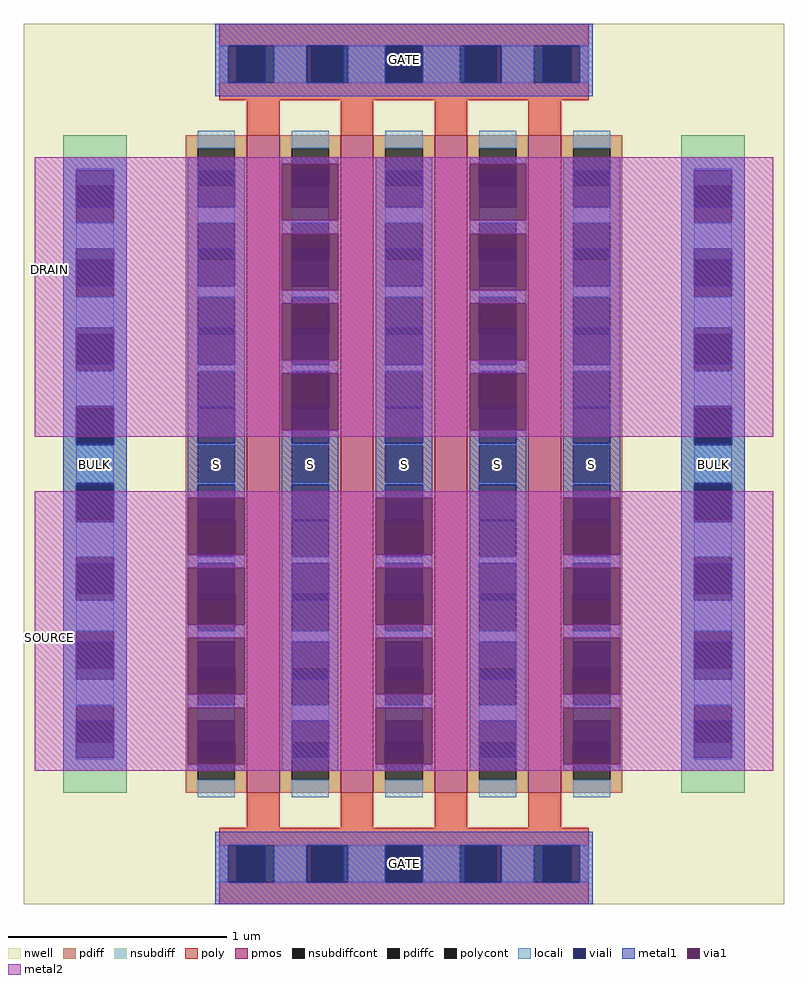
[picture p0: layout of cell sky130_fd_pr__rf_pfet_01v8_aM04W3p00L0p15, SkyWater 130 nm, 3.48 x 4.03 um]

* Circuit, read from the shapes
.subckt sky130_fd_pr__rf_pfet_01v8_aM04W3p00L0p15 BULK DRAIN GATE SOURCE
XM1 DRAIN GATE SOURCE BULK sky130_fd_pr__pfet_01v8 w=3.01 l=0.15 m=4
.ends

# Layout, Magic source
magic
tech sky130A
magscale 1 2
<< nwell >>
rect 0 0 696 806
<< pmos >>
rect 204 102 234 704
rect 290 102 320 704
rect 376 102 406 704
rect 462 102 492 704
<< pdiff >>
rect 148 692 204 704
rect 148 658 159 692
rect 193 658 204 692
rect 148 624 204 658
rect 148 590 159 624
rect 193 590 204 624
rect 148 556 204 590
rect 148 522 159 556
rect 193 522 204 556
rect 148 488 204 522
rect 148 454 159 488
rect 193 454 204 488
rect 148 420 204 454
rect 148 386 159 420
rect 193 386 204 420
rect 148 352 204 386
rect 148 318 159 352
rect 193 318 204 352
rect 148 284 204 318
rect 148 250 159 284
rect 193 250 204 284
rect 148 216 204 250
rect 148 182 159 216
rect 193 182 204 216
rect 148 148 204 182
rect 148 114 159 148
rect 193 114 204 148
rect 148 102 204 114
rect 234 692 290 704
rect 234 658 245 692
rect 279 658 290 692
rect 234 624 290 658
rect 234 590 245 624
rect 279 590 290 624
rect 234 556 290 590
rect 234 522 245 556
rect 279 522 290 556
rect 234 488 290 522
rect 234 454 245 488
rect 279 454 290 488
rect 234 420 290 454
rect 234 386 245 420
rect 279 386 290 420
rect 234 352 290 386
rect 234 318 245 352
rect 279 318 290 352
rect 234 284 290 318
rect 234 250 245 284
rect 279 250 290 284
rect 234 216 290 250
rect 234 182 245 216
rect 279 182 290 216
rect 234 148 290 182
rect 234 114 245 148
rect 279 114 290 148
rect 234 102 290 114
rect 320 692 376 704
rect 320 658 331 692
rect 365 658 376 692
rect 320 624 376 658
rect 320 590 331 624
rect 365 590 376 624
rect 320 556 376 590
rect 320 522 331 556
rect 365 522 376 556
rect 320 488 376 522
rect 320 454 331 488
rect 365 454 376 488
rect 320 420 376 454
rect 320 386 331 420
rect 365 386 376 420
rect 320 352 376 386
rect 320 318 331 352
rect 365 318 376 352
rect 320 284 376 318
rect 320 250 331 284
rect 365 250 376 284
rect 320 216 376 250
rect 320 182 331 216
rect 365 182 376 216
rect 320 148 376 182
rect 320 114 331 148
rect 365 114 376 148
rect 320 102 376 114
rect 406 692 462 704
rect 406 658 417 692
rect 451 658 462 692
rect 406 624 462 658
rect 406 590 417 624
rect 451 590 462 624
rect 406 556 462 590
rect 406 522 417 556
rect 451 522 462 556
rect 406 488 462 522
rect 406 454 417 488
rect 451 454 462 488
rect 406 420 462 454
rect 406 386 417 420
rect 451 386 462 420
rect 406 352 462 386
rect 406 318 417 352
rect 451 318 462 352
rect 406 284 462 318
rect 406 250 417 284
rect 451 250 462 284
rect 406 216 462 250
rect 406 182 417 216
rect 451 182 462 216
rect 406 148 462 182
rect 406 114 417 148
rect 451 114 462 148
rect 406 102 462 114
rect 492 692 548 704
rect 492 658 503 692
rect 537 658 548 692
rect 492 624 548 658
rect 492 590 503 624
rect 537 590 548 624
rect 492 556 548 590
rect 492 522 503 556
rect 537 522 548 556
rect 492 488 548 522
rect 492 454 503 488
rect 537 454 548 488
rect 492 420 548 454
rect 492 386 503 420
rect 537 386 548 420
rect 492 352 548 386
rect 492 318 503 352
rect 537 318 548 352
rect 492 284 548 318
rect 492 250 503 284
rect 537 250 548 284
rect 492 216 548 250
rect 492 182 503 216
rect 537 182 548 216
rect 492 148 548 182
rect 492 114 503 148
rect 537 114 548 148
rect 492 102 548 114
<< pdiffc >>
rect 159 658 193 692
rect 159 590 193 624
rect 159 522 193 556
rect 159 454 193 488
rect 159 386 193 420
rect 159 318 193 352
rect 159 250 193 284
rect 159 182 193 216
rect 159 114 193 148
rect 245 658 279 692
rect 245 590 279 624
rect 245 522 279 556
rect 245 454 279 488
rect 245 386 279 420
rect 245 318 279 352
rect 245 250 279 284
rect 245 182 279 216
rect 245 114 279 148
rect 331 658 365 692
rect 331 590 365 624
rect 331 522 365 556
rect 331 454 365 488
rect 331 386 365 420
rect 331 318 365 352
rect 331 250 365 284
rect 331 182 365 216
rect 331 114 365 148
rect 417 658 451 692
rect 417 590 451 624
rect 417 522 451 556
rect 417 454 451 488
rect 417 386 451 420
rect 417 318 451 352
rect 417 250 451 284
rect 417 182 451 216
rect 417 114 451 148
rect 503 658 537 692
rect 503 590 537 624
rect 503 522 537 556
rect 503 454 537 488
rect 503 386 537 420
rect 503 318 537 352
rect 503 250 537 284
rect 503 182 537 216
rect 503 114 537 148
<< nsubdiff >>
rect 36 658 94 704
rect 36 624 48 658
rect 82 624 94 658
rect 36 590 94 624
rect 36 556 48 590
rect 82 556 94 590
rect 36 522 94 556
rect 36 488 48 522
rect 82 488 94 522
rect 36 454 94 488
rect 36 420 48 454
rect 82 420 94 454
rect 36 386 94 420
rect 36 352 48 386
rect 82 352 94 386
rect 36 318 94 352
rect 36 284 48 318
rect 82 284 94 318
rect 36 250 94 284
rect 36 216 48 250
rect 82 216 94 250
rect 36 182 94 216
rect 36 148 48 182
rect 82 148 94 182
rect 36 102 94 148
rect 602 658 660 704
rect 602 624 614 658
rect 648 624 660 658
rect 602 590 660 624
rect 602 556 614 590
rect 648 556 660 590
rect 602 522 660 556
rect 602 488 614 522
rect 648 488 660 522
rect 602 454 660 488
rect 602 420 614 454
rect 648 420 660 454
rect 602 386 660 420
rect 602 352 614 386
rect 648 352 660 386
rect 602 318 660 352
rect 602 284 614 318
rect 648 284 660 318
rect 602 250 660 284
rect 602 216 614 250
rect 648 216 660 250
rect 602 182 660 216
rect 602 148 614 182
rect 648 148 660 182
rect 602 102 660 148
<< nsubdiffcont >>
rect 48 624 82 658
rect 48 556 82 590
rect 48 488 82 522
rect 48 420 82 454
rect 48 352 82 386
rect 48 284 82 318
rect 48 216 82 250
rect 48 148 82 182
rect 614 624 648 658
rect 614 556 648 590
rect 614 488 648 522
rect 614 420 648 454
rect 614 352 648 386
rect 614 284 648 318
rect 614 216 648 250
rect 614 148 648 182
<< poly >>
rect 179 786 517 806
rect 179 752 195 786
rect 229 752 263 786
rect 297 752 331 786
rect 365 752 399 786
rect 433 752 467 786
rect 501 752 517 786
rect 179 736 517 752
rect 204 704 234 736
rect 290 704 320 736
rect 376 704 406 736
rect 462 704 492 736
rect 204 70 234 102
rect 290 70 320 102
rect 376 70 406 102
rect 462 70 492 102
rect 179 54 517 70
rect 179 20 195 54
rect 229 20 263 54
rect 297 20 331 54
rect 365 20 399 54
rect 433 20 467 54
rect 501 20 517 54
rect 179 0 517 20
<< polycont >>
rect 195 752 229 786
rect 263 752 297 786
rect 331 752 365 786
rect 399 752 433 786
rect 467 752 501 786
rect 195 20 229 54
rect 263 20 297 54
rect 331 20 365 54
rect 399 20 433 54
rect 467 20 501 54
<< locali >>
rect 179 752 187 786
rect 229 752 259 786
rect 297 752 331 786
rect 365 752 399 786
rect 437 752 467 786
rect 509 752 517 786
rect 159 692 193 708
rect 48 672 82 674
rect 48 600 82 624
rect 48 528 82 556
rect 48 456 82 488
rect 48 386 82 420
rect 48 318 82 350
rect 48 250 82 278
rect 48 182 82 206
rect 48 132 82 134
rect 159 624 193 638
rect 159 556 193 566
rect 159 488 193 494
rect 159 420 193 422
rect 159 384 193 386
rect 159 312 193 318
rect 159 240 193 250
rect 159 168 193 182
rect 159 98 193 114
rect 245 692 279 708
rect 245 624 279 638
rect 245 556 279 566
rect 245 488 279 494
rect 245 420 279 422
rect 245 384 279 386
rect 245 312 279 318
rect 245 240 279 250
rect 245 168 279 182
rect 245 98 279 114
rect 331 692 365 708
rect 331 624 365 638
rect 331 556 365 566
rect 331 488 365 494
rect 331 420 365 422
rect 331 384 365 386
rect 331 312 365 318
rect 331 240 365 250
rect 331 168 365 182
rect 331 98 365 114
rect 417 692 451 708
rect 417 624 451 638
rect 417 556 451 566
rect 417 488 451 494
rect 417 420 451 422
rect 417 384 451 386
rect 417 312 451 318
rect 417 240 451 250
rect 417 168 451 182
rect 417 98 451 114
rect 503 692 537 708
rect 503 624 537 638
rect 503 556 537 566
rect 503 488 537 494
rect 503 420 537 422
rect 503 384 537 386
rect 503 312 537 318
rect 503 240 537 250
rect 503 168 537 182
rect 614 672 648 674
rect 614 600 648 624
rect 614 528 648 556
rect 614 456 648 488
rect 614 386 648 420
rect 614 318 648 350
rect 614 250 648 278
rect 614 182 648 206
rect 614 132 648 134
rect 503 98 537 114
rect 179 20 187 54
rect 229 20 259 54
rect 297 20 331 54
rect 365 20 399 54
rect 437 20 467 54
rect 509 20 517 54
<< viali >>
rect 187 752 195 786
rect 195 752 221 786
rect 259 752 263 786
rect 263 752 293 786
rect 331 752 365 786
rect 403 752 433 786
rect 433 752 437 786
rect 475 752 501 786
rect 501 752 509 786
rect 48 658 82 672
rect 48 638 82 658
rect 48 590 82 600
rect 48 566 82 590
rect 48 522 82 528
rect 48 494 82 522
rect 48 454 82 456
rect 48 422 82 454
rect 48 352 82 384
rect 48 350 82 352
rect 48 284 82 312
rect 48 278 82 284
rect 48 216 82 240
rect 48 206 82 216
rect 48 148 82 168
rect 48 134 82 148
rect 159 658 193 672
rect 159 638 193 658
rect 159 590 193 600
rect 159 566 193 590
rect 159 522 193 528
rect 159 494 193 522
rect 159 454 193 456
rect 159 422 193 454
rect 159 352 193 384
rect 159 350 193 352
rect 159 284 193 312
rect 159 278 193 284
rect 159 216 193 240
rect 159 206 193 216
rect 159 148 193 168
rect 159 134 193 148
rect 245 658 279 672
rect 245 638 279 658
rect 245 590 279 600
rect 245 566 279 590
rect 245 522 279 528
rect 245 494 279 522
rect 245 454 279 456
rect 245 422 279 454
rect 245 352 279 384
rect 245 350 279 352
rect 245 284 279 312
rect 245 278 279 284
rect 245 216 279 240
rect 245 206 279 216
rect 245 148 279 168
rect 245 134 279 148
rect 331 658 365 672
rect 331 638 365 658
rect 331 590 365 600
rect 331 566 365 590
rect 331 522 365 528
rect 331 494 365 522
rect 331 454 365 456
rect 331 422 365 454
rect 331 352 365 384
rect 331 350 365 352
rect 331 284 365 312
rect 331 278 365 284
rect 331 216 365 240
rect 331 206 365 216
rect 331 148 365 168
rect 331 134 365 148
rect 417 658 451 672
rect 417 638 451 658
rect 417 590 451 600
rect 417 566 451 590
rect 417 522 451 528
rect 417 494 451 522
rect 417 454 451 456
rect 417 422 451 454
rect 417 352 451 384
rect 417 350 451 352
rect 417 284 451 312
rect 417 278 451 284
rect 417 216 451 240
rect 417 206 451 216
rect 417 148 451 168
rect 417 134 451 148
rect 503 658 537 672
rect 503 638 537 658
rect 503 590 537 600
rect 503 566 537 590
rect 503 522 537 528
rect 503 494 537 522
rect 503 454 537 456
rect 503 422 537 454
rect 503 352 537 384
rect 503 350 537 352
rect 503 284 537 312
rect 503 278 537 284
rect 503 216 537 240
rect 503 206 537 216
rect 503 148 537 168
rect 503 134 537 148
rect 614 658 648 672
rect 614 638 648 658
rect 614 590 648 600
rect 614 566 648 590
rect 614 522 648 528
rect 614 494 648 522
rect 614 454 648 456
rect 614 422 648 454
rect 614 352 648 384
rect 614 350 648 352
rect 614 284 648 312
rect 614 278 648 284
rect 614 216 648 240
rect 614 206 648 216
rect 614 148 648 168
rect 614 134 648 148
rect 187 20 195 54
rect 195 20 221 54
rect 259 20 263 54
rect 263 20 293 54
rect 331 20 365 54
rect 403 20 433 54
rect 433 20 437 54
rect 475 20 501 54
rect 501 20 509 54
<< metal1 >>
rect 175 786 521 806
rect 175 752 187 786
rect 221 752 259 786
rect 293 752 331 786
rect 365 752 403 786
rect 437 752 475 786
rect 509 752 521 786
rect 175 740 521 752
rect 36 672 94 684
rect 36 638 48 672
rect 82 638 94 672
rect 36 600 94 638
rect 36 566 48 600
rect 82 566 94 600
rect 36 528 94 566
rect 36 494 48 528
rect 82 494 94 528
rect 36 456 94 494
rect 36 422 48 456
rect 82 422 94 456
rect 36 384 94 422
rect 36 350 48 384
rect 82 350 94 384
rect 36 312 94 350
rect 36 278 48 312
rect 82 278 94 312
rect 36 240 94 278
rect 36 206 48 240
rect 82 206 94 240
rect 36 168 94 206
rect 36 134 48 168
rect 82 134 94 168
rect 36 122 94 134
rect 150 672 202 684
rect 150 638 159 672
rect 193 638 202 672
rect 150 600 202 638
rect 150 566 159 600
rect 193 566 202 600
rect 150 528 202 566
rect 150 494 159 528
rect 193 494 202 528
rect 150 456 202 494
rect 150 422 159 456
rect 193 422 202 456
rect 150 384 202 422
rect 150 372 159 384
rect 193 372 202 384
rect 150 312 202 320
rect 150 308 159 312
rect 193 308 202 312
rect 150 244 202 256
rect 150 180 202 192
rect 150 122 202 128
rect 236 678 288 684
rect 236 614 288 626
rect 236 550 288 562
rect 236 494 245 498
rect 279 494 288 498
rect 236 486 288 494
rect 236 422 245 434
rect 279 422 288 434
rect 236 384 288 422
rect 236 350 245 384
rect 279 350 288 384
rect 236 312 288 350
rect 236 278 245 312
rect 279 278 288 312
rect 236 240 288 278
rect 236 206 245 240
rect 279 206 288 240
rect 236 168 288 206
rect 236 134 245 168
rect 279 134 288 168
rect 236 122 288 134
rect 322 672 374 684
rect 322 638 331 672
rect 365 638 374 672
rect 322 600 374 638
rect 322 566 331 600
rect 365 566 374 600
rect 322 528 374 566
rect 322 494 331 528
rect 365 494 374 528
rect 322 456 374 494
rect 322 422 331 456
rect 365 422 374 456
rect 322 384 374 422
rect 322 372 331 384
rect 365 372 374 384
rect 322 312 374 320
rect 322 308 331 312
rect 365 308 374 312
rect 322 244 374 256
rect 322 180 374 192
rect 322 122 374 128
rect 408 678 460 684
rect 408 614 460 626
rect 408 550 460 562
rect 408 494 417 498
rect 451 494 460 498
rect 408 486 460 494
rect 408 422 417 434
rect 451 422 460 434
rect 408 384 460 422
rect 408 350 417 384
rect 451 350 460 384
rect 408 312 460 350
rect 408 278 417 312
rect 451 278 460 312
rect 408 240 460 278
rect 408 206 417 240
rect 451 206 460 240
rect 408 168 460 206
rect 408 134 417 168
rect 451 134 460 168
rect 408 122 460 134
rect 494 672 546 684
rect 494 638 503 672
rect 537 638 546 672
rect 494 600 546 638
rect 494 566 503 600
rect 537 566 546 600
rect 494 528 546 566
rect 494 494 503 528
rect 537 494 546 528
rect 494 456 546 494
rect 494 422 503 456
rect 537 422 546 456
rect 494 384 546 422
rect 494 372 503 384
rect 537 372 546 384
rect 494 312 546 320
rect 494 308 503 312
rect 537 308 546 312
rect 494 244 546 256
rect 494 180 546 192
rect 494 122 546 128
rect 602 672 660 684
rect 602 638 614 672
rect 648 638 660 672
rect 602 600 660 638
rect 602 566 614 600
rect 648 566 660 600
rect 602 528 660 566
rect 602 494 614 528
rect 648 494 660 528
rect 602 456 660 494
rect 602 422 614 456
rect 648 422 660 456
rect 602 384 660 422
rect 602 350 614 384
rect 648 350 660 384
rect 602 312 660 350
rect 602 278 614 312
rect 648 278 660 312
rect 602 240 660 278
rect 602 206 614 240
rect 648 206 660 240
rect 602 168 660 206
rect 602 134 614 168
rect 648 134 660 168
rect 602 122 660 134
rect 175 54 521 66
rect 175 20 187 54
rect 221 20 259 54
rect 293 20 331 54
rect 365 20 403 54
rect 437 20 475 54
rect 509 20 521 54
rect 175 0 521 20
<< via1 >>
rect 150 350 159 372
rect 159 350 193 372
rect 193 350 202 372
rect 150 320 202 350
rect 150 278 159 308
rect 159 278 193 308
rect 193 278 202 308
rect 150 256 202 278
rect 150 240 202 244
rect 150 206 159 240
rect 159 206 193 240
rect 193 206 202 240
rect 150 192 202 206
rect 150 168 202 180
rect 150 134 159 168
rect 159 134 193 168
rect 193 134 202 168
rect 150 128 202 134
rect 236 672 288 678
rect 236 638 245 672
rect 245 638 279 672
rect 279 638 288 672
rect 236 626 288 638
rect 236 600 288 614
rect 236 566 245 600
rect 245 566 279 600
rect 279 566 288 600
rect 236 562 288 566
rect 236 528 288 550
rect 236 498 245 528
rect 245 498 279 528
rect 279 498 288 528
rect 236 456 288 486
rect 236 434 245 456
rect 245 434 279 456
rect 279 434 288 456
rect 322 350 331 372
rect 331 350 365 372
rect 365 350 374 372
rect 322 320 374 350
rect 322 278 331 308
rect 331 278 365 308
rect 365 278 374 308
rect 322 256 374 278
rect 322 240 374 244
rect 322 206 331 240
rect 331 206 365 240
rect 365 206 374 240
rect 322 192 374 206
rect 322 168 374 180
rect 322 134 331 168
rect 331 134 365 168
rect 365 134 374 168
rect 322 128 374 134
rect 408 672 460 678
rect 408 638 417 672
rect 417 638 451 672
rect 451 638 460 672
rect 408 626 460 638
rect 408 600 460 614
rect 408 566 417 600
rect 417 566 451 600
rect 451 566 460 600
rect 408 562 460 566
rect 408 528 460 550
rect 408 498 417 528
rect 417 498 451 528
rect 451 498 460 528
rect 408 456 460 486
rect 408 434 417 456
rect 417 434 451 456
rect 451 434 460 456
rect 494 350 503 372
rect 503 350 537 372
rect 537 350 546 372
rect 494 320 546 350
rect 494 278 503 308
rect 503 278 537 308
rect 537 278 546 308
rect 494 256 546 278
rect 494 240 546 244
rect 494 206 503 240
rect 503 206 537 240
rect 537 206 546 240
rect 494 192 546 206
rect 494 168 546 180
rect 494 134 503 168
rect 503 134 537 168
rect 537 134 546 168
rect 494 128 546 134
<< metal2 >>
rect 10 678 686 684
rect 10 626 236 678
rect 288 626 408 678
rect 460 626 686 678
rect 10 614 686 626
rect 10 562 236 614
rect 288 562 408 614
rect 460 562 686 614
rect 10 550 686 562
rect 10 498 236 550
rect 288 498 408 550
rect 460 498 686 550
rect 10 486 686 498
rect 10 434 236 486
rect 288 434 408 486
rect 460 434 686 486
rect 10 428 686 434
rect 10 372 686 378
rect 10 320 150 372
rect 202 320 322 372
rect 374 320 494 372
rect 546 320 686 372
rect 10 308 686 320
rect 10 256 150 308
rect 202 256 322 308
rect 374 256 494 308
rect 546 256 686 308
rect 10 244 686 256
rect 10 192 150 244
rect 202 192 322 244
rect 374 192 494 244
rect 546 192 686 244
rect 10 180 686 192
rect 10 128 150 180
rect 202 128 322 180
rect 374 128 494 180
rect 546 128 686 180
rect 10 122 686 128
<< labels >>
flabel comment s 176 403 176 403 0 FreeSans 300 0 0 0 S
flabel comment s 262 403 262 403 0 FreeSans 300 0 0 0 S
flabel comment s 348 403 348 403 0 FreeSans 300 0 0 0 S
flabel comment s 434 403 434 403 0 FreeSans 300 0 0 0 S
flabel comment s 176 403 176 403 0 FreeSans 300 0 0 0 S
flabel comment s 262 403 262 403 0 FreeSans 300 0 0 0 D
flabel comment s 348 403 348 403 0 FreeSans 300 0 0 0 S
flabel comment s 434 403 434 403 0 FreeSans 300 0 0 0 D
flabel comment s 520 403 520 403 0 FreeSans 300 0 0 0 S
flabel metal1 s 319 761 377 786 0 FreeSans 100 0 0 0 GATE
port 3 nsew
flabel metal1 s 319 25 377 50 0 FreeSans 100 0 0 0 GATE
port 3 nsew
flabel metal1 s 614 397 648 408 0 FreeSans 100 0 0 0 BULK
port 1 nsew
flabel metal1 s 48 397 82 408 0 FreeSans 100 0 0 0 BULK
port 1 nsew
flabel metal2 s 16 213 30 276 0 FreeSans 100 0 0 0 SOURCE
port 4 nsew
flabel metal2 s 16 548 31 614 0 FreeSans 100 0 0 0 DRAIN
port 2 nsew
<< properties >>
string GDS_FILE $PDKPATH/libs.ref/sky130_fd_pr/gds/sky130_fd_pr.gds
string GDS_END 9494580
string GDS_START 9479142
<< end >>
